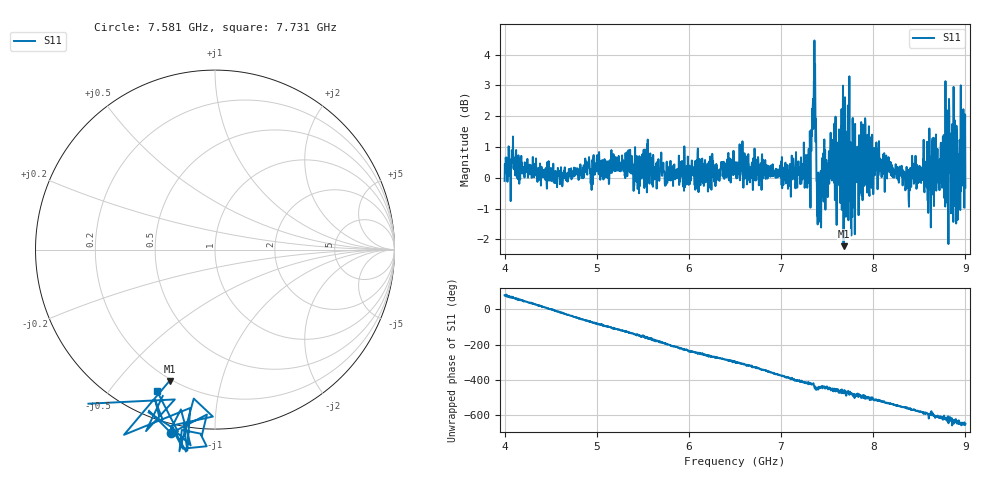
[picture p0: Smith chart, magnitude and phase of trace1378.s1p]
! Created with skrf 1.8.0 (http://scikit-rf.org).
# Hz S RI R 50.0
!freq ReS11 ImS11
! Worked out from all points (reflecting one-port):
!   1601 points, 4 GHz to 9 GHz, reference 50 ohm
!   lowest |S11| = -2.2 dB at 7.678 GHz (marker M1), VSWR 7.86, Z = 9.5 - j34.7 ohm
!   phase of S11 starts at 79 deg and turns -728 deg over the sweep
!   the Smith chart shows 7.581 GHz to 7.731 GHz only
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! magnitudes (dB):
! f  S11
! 4 GHz  -0.1
! 4.1 GHz  0.4
! 4.625 GHz  -0.3
! 5.25 GHz  0.2
! 5.875 GHz  0.1
! 6.5 GHz  0.3
! 7.125 GHz  -0.1
! 7.294 GHz  0.5
! 7.356 GHz  3.1
! 7.409 GHz  -0.9
! 7.538 GHz  1.5
! 7.622 GHz  0.2
! 7.65 GHz  1.7
! 7.678 GHz  -2.2
! 7.75 GHz  0.0
! 7.769 GHz  -0.8
! 7.8 GHz  -1.8
! 7.928 GHz  0.6
! 7.981 GHz  -0.3
! 8.05 GHz  0.4
! 8.375 GHz  -0.3
! 8.441 GHz  -0.2
! 8.612 GHz  0.7
! 8.816 GHz  -2.2
! 8.875 GHz  0.5
! 8.919 GHz  -0.8
! 8.972 GHz  1.0
! 9 GHz  -0.3
